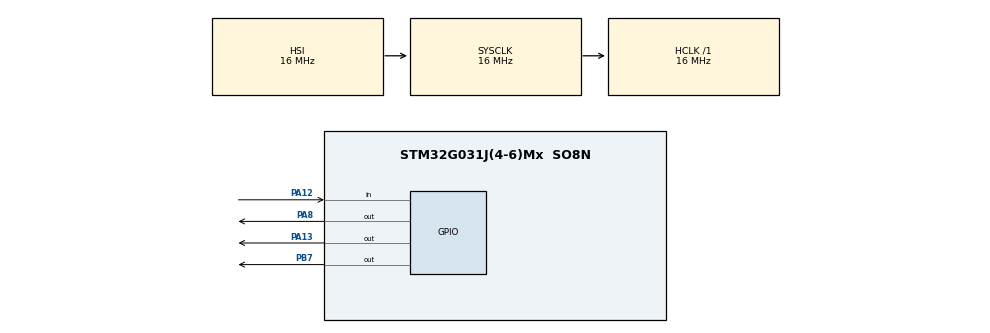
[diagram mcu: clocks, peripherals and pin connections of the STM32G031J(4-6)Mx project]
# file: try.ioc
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Mcu.Family=STM32G0
Mcu.Name=STM32G031J(4-6)Mx
Mcu.Package=SO8N
PA12\ [PA10].Signal=GPIO_Input
PA13.Signal=GPIO_Output
PA8.Signal=GPIO_Output
PB7.Signal=GPIO_Output
ProjectManager.HeapSize=0x200
ProjectManager.StackSize=0x400
ProjectManager.TargetToolchain=STM32CubeIDE
RCC.AHBFreq_Value=16000000
RCC.CortexFreq_Value=16000000
RCC.EXTERNAL_CLOCK_VALUE=12288000
RCC.HCLKFreq_Value=16000000
RCC.HSE_VALUE=8000000
RCC.HSI_VALUE=16000000
RCC.LSE_VALUE=32768
RCC.SYSCLKFreq_VALUE=16000000
RCC.VCOOutputFreq_Value=128000000
board=STM32G0316-DISCO

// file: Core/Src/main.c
/* USER CODE BEGIN Header */
/**
  ******************************************************************************
  * @file           : main.c
  * @brief          : Main program body
  ******************************************************************************
  * @attention
  *
  * <h2><center>&copy; Copyright (c) 2020 STMicroelectronics.
  * All rights reserved.</center></h2>
  *
  * This software component is licensed by ST under BSD 3-Clause license,
  * the "License"; You may not use this file except in compliance with the
  * License. You may obtain a copy of the License at:
  *                        opensource.org/licenses/BSD-3-Clause
  *
  ******************************************************************************
  */
/* USER CODE END Header */

#include "main.h"

/* USER CODE BEGIN Includes */
//#include <CapacitiveSensor.h>
/* USER CODE END Includes */

/* USER CODE BEGIN PV */
long capsenvar=0;
int timeholddown=0;
/* USER CODE END PV */

void SystemClock_Config(void);
static void MX_GPIO_Init(void);

int main(void)
{
  /* USER CODE BEGIN 1 */
	enum States currentstate=OFF;
  /* USER CODE END 1 */

  /* MCU Configuration--------------------------------------------------------*/

  /* Reset of all peripherals, Initializes the Flash interface and the Systick. */
  HAL_Init();

  /* Configure the system clock */
  SystemClock_Config();

  /* Initialize all configured peripherals */
  MX_GPIO_Init();
  /* USER CODE BEGIN 2 */
  CapacitiveSensorinit();
  /* USER CODE END 2 */

  /* Infinite loop */
  /* USER CODE BEGIN WHILE */
  while (1)
  {
	  capsenvar=capacitiveSensorRaw(30);
	  	  if(capsenvar >= 1000){
	  	   timeholddown++;}
	  	  else if(capsenvar==-10){	//Lowpowermode
	  		  sleep(&currentstate);
	  	  }
	  	  else{
	  		/* Buttonstatemaschine einfügen*/
	  		if(timeholddown>2/*0*/){		//Falls länger gedrückt werden würde
	  			NextState(&currentstate);
	  		}
	  		else if (timeholddown>0){
	  			NextState(&currentstate);	//Falls kurz gedrückt wird
	  		}
	  		timeholddown=0;
	  	  }

    /* USER CODE END WHILE */

  }
}

void SystemClock_Config(void)
{
  RCC_OscInitTypeDef RCC_OscInitStruct = {0};
  RCC_ClkInitTypeDef RCC_ClkInitStruct = {0};

  /** Configure the main internal regulator output voltage
  */
  HAL_PWREx_ControlVoltageScaling(PWR_REGULATOR_VOLTAGE_SCALE1);
  /** Initializes the CPU, AHB and APB busses clocks
  */
  RCC_OscInitStruct.OscillatorType = RCC_OSCILLATORTYPE_HSI;
  RCC_OscInitStruct.HSIState = RCC_HSI_ON;
  RCC_OscInitStruct.HSIDiv = RCC_HSI_DIV1;
  RCC_OscInitStruct.HSICalibrationValue = RCC_HSICALIBRATION_DEFAULT;
  RCC_OscInitStruct.PLL.PLLState = RCC_PLL_NONE;
  if (HAL_RCC_OscConfig(&RCC_OscInitStruct) != HAL_OK)
  {
    Error_Handler();
  }
  /** Initializes the CPU, AHB and APB busses clocks
  */
  RCC_ClkInitStruct.ClockType = RCC_CLOCKTYPE_HCLK|RCC_CLOCKTYPE_SYSCLK
                              |RCC_CLOCKTYPE_PCLK1;
  RCC_ClkInitStruct.SYSCLKSource = RCC_SYSCLKSOURCE_HSI;
  RCC_ClkInitStruct.AHBCLKDivider = RCC_SYSCLK_DIV1;
  RCC_ClkInitStruct.APB1CLKDivider = RCC_HCLK_DIV1;

  if (HAL_RCC_ClockConfig(&RCC_ClkInitStruct, FLASH_LATENCY_0) != HAL_OK)
  {
    Error_Handler();
  }
}

static void MX_GPIO_Init(void)
{
  GPIO_InitTypeDef GPIO_InitStruct = {0};

  /* GPIO Ports Clock Enable */
  __HAL_RCC_GPIOB_CLK_ENABLE();
  __HAL_RCC_GPIOA_CLK_ENABLE();

  /*Configure GPIO pin Output Level */
  HAL_GPIO_WritePin(GPIOB, GPIO_PIN_7, GPIO_PIN_RESET);

  /*Configure GPIO pin Output Level */
  HAL_GPIO_WritePin(GPIOA, GPIO_PIN_8|GPIO_PIN_13, GPIO_PIN_RESET);

  /*Configure GPIO pin : PB7 */
  GPIO_InitStruct.Pin = GPIO_PIN_7;
  GPIO_InitStruct.Mode = GPIO_MODE_OUTPUT_PP;
  GPIO_InitStruct.Pull = GPIO_NOPULL;
  GPIO_InitStruct.Speed = GPIO_SPEED_FREQ_LOW;
  HAL_GPIO_Init(GPIOB, &GPIO_InitStruct);

  /*Configure GPIO pins : PA8 PA13 */
  GPIO_InitStruct.Pin = GPIO_PIN_8|GPIO_PIN_13;
  GPIO_InitStruct.Mode = GPIO_MODE_OUTPUT_PP;
  GPIO_InitStruct.Pull = GPIO_NOPULL;
  GPIO_InitStruct.Speed = GPIO_SPEED_FREQ_LOW;
  HAL_GPIO_Init(GPIOA, &GPIO_InitStruct);

  /*Configure GPIO pin : PA12 */
  GPIO_InitStruct.Pin = GPIO_PIN_12;
  GPIO_InitStruct.Mode = GPIO_MODE_INPUT;
  GPIO_InitStruct.Pull = GPIO_NOPULL;
  HAL_GPIO_Init(GPIOA, &GPIO_InitStruct);

}

void Error_Handler(void)
{
}

/************************ (C) COPYRIGHT STMicroelectronics *****END OF FILE****/
